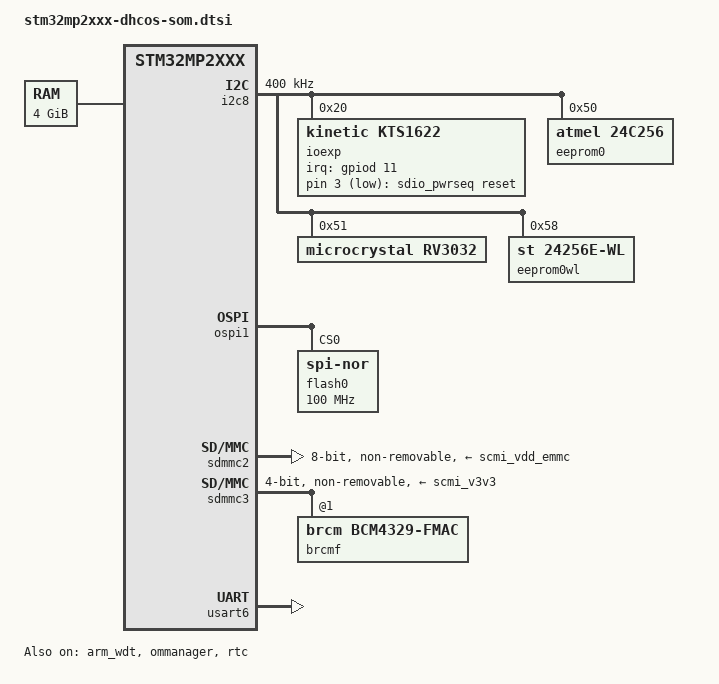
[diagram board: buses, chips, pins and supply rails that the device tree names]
// SPDX-License-Identifier: (GPL-2.0-only OR BSD-3-Clause)
/*
 * Copyright (C) 2025-2026 Marek Vasut <marex@nabladev.com>
 */

/ {
	aliases {
		mmc0 = &sdmmc2;
		mmc1 = &sdmmc3;
		serial0 = &usart6;
		serial1 = &uart8;
		eeprom0 = &eeprom0;
		eeprom0wl = &eeprom0wl;
		rtc0 = &rv3032;
		rtc1 = &rtc;
	};

	chosen {
		stdout-path = "serial0:115200n8";
	};

	memory@80000000 {
		device_type = "memory";
		reg = <0x0 0x80000000 0x1 0x0>;
	};

	reserved-memory {
		#address-cells = <2>;
		#size-cells = <2>;
		ranges;

		/* Internal RAM reserved memory declaration */
		tfa_bl31: tfa-bl31@a000000 {
			reg = <0x0 0xa000000 0x0 0x20000>;
			no-map;
		};

		hpdma1_lli: hpdma1-lli@a020000 {
			reg = <0x0 0xa020000 0x0 0xf0f0>;
			no-map;
		};

		hpdma2_lli: hpdma2-lli@a02f0f0 {
			reg = <0x0 0xa02f0f0 0x0 0xf0f0>;
			no-map;
		};

		hpdma3_lli: hpdma3-lli@a03e1e0 {
			reg = <0x0 0xa03e1e0 0x0 0x1e20>;
			no-map;
		};

		bsec_mirror: bsec-mirror@a040000 {
			reg = <0x0 0xa040000 0x0 0x1000>;
			no-map;
		};

		scmi_cid2_s: scmi-cid2-s@a041000 {
			reg = <0x0 0xa041000 0x0 0x1000>;
			no-map;
		};

		scmi_cid2_ns: scmi-cid2-ns@a042000 {
			reg = <0x0 0xa042000 0x0 0x1000>;
			no-map;
		};

		cm33_sram1: cm33-sram1@a043000 {
			reg = <0x0 0xa043000 0x0 0x1d000>;
			no-map;
		};

		cm33_sram2: cm33-sram2@a060000 {
			reg = <0x0 0xa060000 0x0 0x20000>;
			no-map;
		};

		cm33_retram: cm33-retram@a080000 {
			reg = <0x0 0xa080000 0x0 0x1f000>;
			no-map;
		};

		ddr_param: ddr-param@a09f000 {
			reg = <0x0 0xa09f000 0x0 0x1000>;
			no-map;
		};

		cm0_cube_fw: cm0-cube-fw@200C0000 {
			compatible = "shared-dma-pool";
			reg = <0x0 0x200C0000 0x0 0x4000>;
			no-map;
		};

		cm0_cube_data: cm0-cube-data@200C4000 {
			compatible = "shared-dma-pool";
			reg = <0x0 0x200C4000 0x0 0x2000>;
			no-map;
		};

		ipc_shmem_2: ipc-shmem-2@200C6000{
			compatible = "shared-dma-pool";
			reg = <0x0 0x200C6000 0x0 0x2000>;
			no-map;
		};

		/* Backup RAM reserved memory declaration */
		bl31_lowpower: bl31-lowpower@42000000 {
			reg = <0x0 0x42000000 0x0 0x1000>;
			no-map;
		};

		tfm_its: tfm-its@42001000 {
			reg = <0x0 0x42001000 0x0 0x1000>;
			no-map;
		};

		/* Octo Memory Manager reserved memory declaration */
		mm_ospi1: mm-ospi@60000000 {
			reg = <0x0 0x60000000 0x0 0x10000000>;
			no-map;
		};

		/* DDR reserved memory declaration */
		tfm_code: tfm-code@80000000 {
			reg = <0x0 0x80000000 0x0 0x100000>;
			no-map;
		};

		cm33_cube_fw: cm33-cube-fw@80100000 {
			reg = <0x0 0x80100000 0x0 0x800000>;
			no-map;
		};

		tfm_data: tfm-data@80900000 {
			reg = <0x0 0x80900000 0x0 0x100000>;
			no-map;
		};

		cm33_cube_data: cm33-cube-data@80a00000 {
			reg = <0x0 0x80a00000 0x0 0x800000>;
			no-map;
		};

		ipc_shmem_1: ipc-shmem-1@81200000 {
			compatible = "shared-dma-pool";
			reg = <0x0 0x81200000 0x0 0xf8000>;
			no-map;
		};

		vdev0vring0: vdev0vring0@812f8000 {
			compatible = "shared-dma-pool";
			reg = <0x0 0x812f8000 0x0 0x1000>;
			no-map;
		};

		vdev0vring1: vdev0vring1@812f9000 {
			compatible = "shared-dma-pool";
			reg = <0x0 0x812f9000 0x0 0x1000>;
			no-map;
		};

		vdev0buffer: vdev0buffer@812fa000 {
			compatible = "shared-dma-pool";
			reg = <0x0 0x812fa000 0x0 0x6000>;
			no-map;
		};

		spare1: spare1@81300000 {
			reg = <0x0 0x81300000 0x0 0xcc0000>;
			no-map;
		};

		bl31_context: bl31-context@81fc0000 {
			reg = <0x0 0x81fc0000 0x0 0x40000>;
			no-map;
		};

		op_tee: op-tee@82000000 {
			reg = <0x0 0x82000000 0x0 0x2000000>;
			no-map;
		};

		gpu_reserved: gpu-reserved@fa800000 {
			reg = <0x0 0xfa800000 0x0 0x4000000>;
			no-map;
		};

		ltdc_sec_layer: ltdc-sec-layer@fe800000 {
			reg = <0x0 0xfe800000 0x0 0x800000>;
			no-map;
		};

		ltdc_sec_rotation: ltdc-sec-rotation@ff000000 {
			reg = <0x0 0xff000000 0x0 0x1000000>;
			no-map;
		};

		/* global autoconfigured region for contiguous allocations */
		linux,cma {
			compatible = "shared-dma-pool";
			reusable;
			alloc-ranges = <0 0x80000000 0 0x80000000>;
			size = <0x0 0x8000000>;
			alignment = <0x0 0x2000>;
			linux,cma-default;
		};
	};

	sdio_pwrseq: sdio-pwrseq {
		compatible = "mmc-pwrseq-simple";
		post-power-on-delay-ms = <50>;
		reset-gpios = <&ioexp 3 GPIO_ACTIVE_LOW>;
	};
};

&arm_wdt {
	timeout-sec = <32>;
	status = "okay";
};

&gpioa {
	gpio-line-names = "", "DHCOS-M", "DHCOS-K", "DHCOS-L",
			  "DHCOS-E", "DHCOS-J", "", "",
			  "DHCOS-D", "", "", "",
			  "", "", "", "";
};

&gpiof {
	gpio-line-names = "", "", "", "",
			  "", "", "", "",
			  "", "", "", "",
			  "", "", "", "DHCOS_RAM-CODE_2";
};

&gpiog {
	gpio-line-names = "", "", "", "",
			  "", "", "", "",
			  "", "DHCOS_RAM-CODE_0", "DHCOS_RAM-CODE_1", "",
			  "", "", "DHCOS-F", "DHCOS_HW-CODE_0";
};

&gpioh {
	gpio-line-names = "", "", "DHCOS-I", "DHCOS-N",
			  "", "", "DHCOS-O", "DHCOS-H",
			  "DHCOS-G", "", "", "",
			  "", "", "", "";
};

&gpioi {
	gpio-line-names = "DHCOS_HW-CODE_1", "DHCOS_HW-CODE_2", "", "",
			  "", "", "", "",
			  "", "DHCOS-C", "", "",
			  "", "", "", "";
};

&gpioz {
	gpio-line-names = "", "", "DHCOS-A", "DHCOS-B",
			  "", "", "", "",
			  "", "", "", "",
			  "", "", "", "";
};

&i2c8 {
	pinctrl-names = "default", "sleep";
	pinctrl-0 = <&i2c8_pins_b>;
	pinctrl-1 = <&i2c8_sleep_pins_b>;
	i2c-scl-rising-time-ns = <57>;
	i2c-scl-falling-time-ns = <7>;
	clock-frequency = <400000>;
	status = "okay";

	ioexp: gpio@20 {
		compatible = "kinetic,kts1622", "ti,tcal6416";
		reg = <0x20>;
		gpio-controller;
		#gpio-cells = <2>;
		interrupts-extended = <&gpiod 11 IRQ_TYPE_LEVEL_LOW>;
		interrupt-controller;
		#interrupt-cells = <2>;
		wakeup-source;

		gpio-line-names =
			"#ETH1_RST_P0_0", "#ETH0_RST_P0_1",
			"BT_REG_ON_P0_2", "WL_REG_ON_P0_3",
			"USB1_PWR_EN_P0_4", "USB1_PWR_STAT_P0_5",
			"USB0_PWR_EN_P0_6", "USB0_PWR_STAT_P0_7",
			"SDIO0_CD_P1_0", "USB0_SS_SEL_P1_1",
			"#PCIe_RST_1_2", "#PCIe_Wake_P1_3",
			"#QSPI_RST_P1_4", "#CSI0_PWDN_P1_5",
			"#CSI0_RST_P1_6", "#ETH3_RST_P1_7";
	};

	eeprom0: eeprom@50 {
		compatible = "atmel,24c256";	/* ST M24256 */
		reg = <0x50>;
		pagesize = <64>;
	};

	rv3032: rtc@51 {
		compatible = "microcrystal,rv3032";
		reg = <0x51>;
		wakeup-source;
	};

	eeprom0wl: eeprom@58 {
		compatible = "st,24256e-wl";	/* ST M24256E WL page of 0x50 */
		pagesize = <64>;
		reg = <0x58>;
	};
};

&ommanager {
	memory-region = <&mm_ospi1>;
	pinctrl-names = "default", "sleep";
	pinctrl-0 = <&ospi_port1_clk_pins_a
		     &ospi_port1_io03_pins_a
		     &ospi_port1_cs0_pins_a>;
	pinctrl-1 = <&ospi_port1_clk_sleep_pins_a
		     &ospi_port1_io03_sleep_pins_a
		     &ospi_port1_cs0_sleep_pins_a>;
	pinctrl-names = "default", "sleep";
	status = "okay";
};

&ospi1 {
	#address-cells = <1>;
	#size-cells = <0>;
	memory-region = <&mm_ospi1>;
	status = "okay";

	flash0: flash@0 {
		compatible = "jedec,spi-nor";
		reg = <0>;
		spi-rx-bus-width = <4>;
		spi-tx-bus-width = <4>;
		spi-max-frequency = <100000000>;
	};
};

&rtc {
	status = "okay";
};

&scmi_regu {
	scmi_vddcore: regulator@b {
		reg = <VOLTD_SCMI_STPMIC2_BUCK2>;
		regulator-name = "vddcore";
	};

	regulator@c {
		reg = <VOLTD_SCMI_STPMIC2_BUCK3>;
		regulator-name = "vddgpu";
		regulator-always-on;
	};

	scmi_v1v8: regulator@e {
		reg = <VOLTD_SCMI_STPMIC2_BUCK5>;
		regulator-name = "v1v8";
		regulator-always-on;
	};

	scmi_v3v3: regulator@10 {
		reg = <VOLTD_SCMI_STPMIC2_BUCK7>;
		regulator-name = "v3v3";
		regulator-always-on;
	};

	scmi_vdd_emmc: regulator@12 {
		reg = <VOLTD_SCMI_STPMIC2_LDO2>;
		regulator-name = "vdd_emmc";
	};

	scmi_vdd3v3_usb: regulator@14 {
		reg = <VOLTD_SCMI_STPMIC2_LDO4>;
		regulator-name = "vdd3v3_usb";
	};

	scmi_vdd_sdcard: regulator@17 {
		reg = <VOLTD_SCMI_STPMIC2_LDO7>;
		regulator-name = "vdd_sdcard";
	};
};

&scmi_vddio3 {
	regulator-always-on;
};

&scmi_vddio4 {
	regulator-always-on;
};

&sdmmc2_b4_pins_a {
	pins2 {
		/delete-property/ bias-disable;
		bias-pull-up;
	};
};

&sdmmc2_b4_od_pins_a {
	pins2 {
		/delete-property/ bias-disable;
		bias-pull-up;
	};
};

&sdmmc2 {
	pinctrl-names = "default", "opendrain", "sleep";
	pinctrl-0 = <&sdmmc2_b4_pins_a &sdmmc2_d47_pins_a>;
	pinctrl-1 = <&sdmmc2_b4_od_pins_a &sdmmc2_d47_pins_a>;
	pinctrl-2 = <&sdmmc2_b4_sleep_pins_a &sdmmc2_d47_sleep_pins_a>;
	non-removable;
	no-sd;
	no-sdio;
	st,neg-edge;
	bus-width = <8>;
	vmmc-supply = <&scmi_vdd_emmc>;
	vqmmc-supply = <&scmi_vddio2>;
	mmc-ddr-1_8v;
	mmc-hs200-1_8v;
	status = "okay";
};

&sdmmc3 {
	pinctrl-names = "default", "opendrain", "sleep";
	pinctrl-0 = <&sdmmc3_b4_pins_b>;
	pinctrl-1 = <&sdmmc3_b4_od_pins_b>;
	pinctrl-2 = <&sdmmc3_b4_sleep_pins_b>;
	bus-width = <4>;
	keep-power-in-suspend;
	non-removable;
	no-sd;
	no-mmc;
	st,neg-edge;
	vmmc-supply = <&scmi_v3v3>;
	vqmmc-supply = <&scmi_v1v8>;
	mmc-pwrseq = <&sdio_pwrseq>;
	status = "okay";

	#address-cells = <1>;
	#size-cells = <0>;

	brcmf: wifi@1 {	/* muRata 2FY */
		reg = <1>;
		compatible = "brcm,bcm4329-fmac";
	};
};

&usart6 {
	pinctrl-names = "default", "idle", "sleep";
	pinctrl-0 = <&usart6_pins_b>;
	pinctrl-1 = <&usart6_idle_pins_b>;
	pinctrl-2 = <&usart6_sleep_pins_b>;
	/delete-property/dmas;
	/delete-property/dma-names;
	status = "okay";
};
